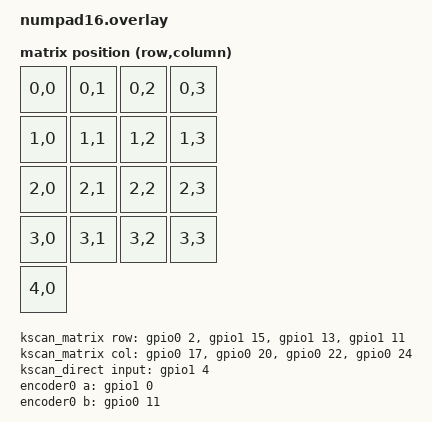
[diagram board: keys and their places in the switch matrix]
#include <dt-bindings/zmk/matrix_transform.h>

/ {
    chosen {
        zmk,kscan = &kscan0;
        zmk,matrix-transform = &default_transform;
    };

    default_transform: keymap_transform_0 {
        compatible = "zmk,matrix-transform";
        columns = <4>;
        rows = <5>;
        map = <
            RC(0,0) RC(0,1) RC(0,2) RC(0,3)
            RC(1,0) RC(1,1) RC(1,2) RC(1,3)
            RC(2,0) RC(2,1) RC(2,2) RC(2,3)
            RC(3,0) RC(3,1) RC(3,2) RC(3,3)
            RC(4,0)
        >;
    };

    kscan0: kscan_composite {
        compatible = "zmk,kscan-composite";
        rows = <5>;
        columns = <4>;

        matrix {
            kscan = <&kscan_matrix>;
        };

        direct {
            kscan = <&kscan_direct>;
            row-offset = <4>;
        };
    };

    kscan_matrix: kscan_matrix {
        compatible = "zmk,kscan-gpio-matrix";
        diode-direction = "col2row";
        wakeup-source;

        col-gpios
            = <&gpio0 17 GPIO_ACTIVE_HIGH>
            , <&gpio0 20 GPIO_ACTIVE_HIGH>
            , <&gpio0 22 GPIO_ACTIVE_HIGH>
            , <&gpio0 24 GPIO_ACTIVE_HIGH>
            ;

        row-gpios
            = <&gpio0 2 (GPIO_ACTIVE_HIGH | GPIO_PULL_DOWN)>
            , <&gpio1 15 (GPIO_ACTIVE_HIGH | GPIO_PULL_DOWN)>
            , <&gpio1 13 (GPIO_ACTIVE_HIGH | GPIO_PULL_DOWN)>
            , <&gpio1 11 (GPIO_ACTIVE_HIGH | GPIO_PULL_DOWN)>
            ;
    };

    kscan_direct: kscan_direct {
        compatible = "zmk,kscan-gpio-direct";
        input-gpios = <&gpio1 4 (GPIO_ACTIVE_LOW | GPIO_PULL_UP)>;
    };

    encoder0: encoder0 {
        compatible = "alps,ec11";
        a-gpios = <&gpio1 0 (GPIO_ACTIVE_HIGH | GPIO_PULL_UP)>;
        b-gpios = <&gpio0 11 (GPIO_ACTIVE_HIGH | GPIO_PULL_UP)>;
        steps = <80>;
    };

    sensors: sensors {
        compatible = "zmk,keymap-sensors";
        sensors = <&encoder0>;
        triggers-per-rotation = <20>;
    };
};
/ {
    chosen {
        zephyr,display = &oled;
    };
};

&pinctrl {
    oled_i2c_default: oled_i2c_default {
        group1 {
            psels = <NRF_PSEL(TWIM_SDA, 0, 31)>, <NRF_PSEL(TWIM_SCL, 0, 29)>;
        };
    };

    oled_i2c_sleep: oled_i2c_sleep {
        group1 {
            psels = <NRF_PSEL(TWIM_SDA, 0, 31)>, <NRF_PSEL(TWIM_SCL, 0, 29)>;
            low-power-enable;
        };
    };
};

&i2c0 {
    status = "okay";
    compatible = "nordic,nrf-twim";
    pinctrl-0 = <&oled_i2c_default>;
    pinctrl-1 = <&oled_i2c_sleep>;
    pinctrl-names = "default", "sleep";
    clock-frequency = <400000>;
    zephyr,concat-buf-size = <256>;

    oled: ssd1306@3c {
        compatible = "sinowealth,sh1106";
        reg = <0x3c>;
        width = <128>;
        height = <64>;
        segment-offset = <2>;
        page-offset = <0>;
        display-offset = <0>;
        multiplex-ratio = <63>;
        segment-remap;
        com-invdir;
        prechargep = <0x22>;
    };
};
